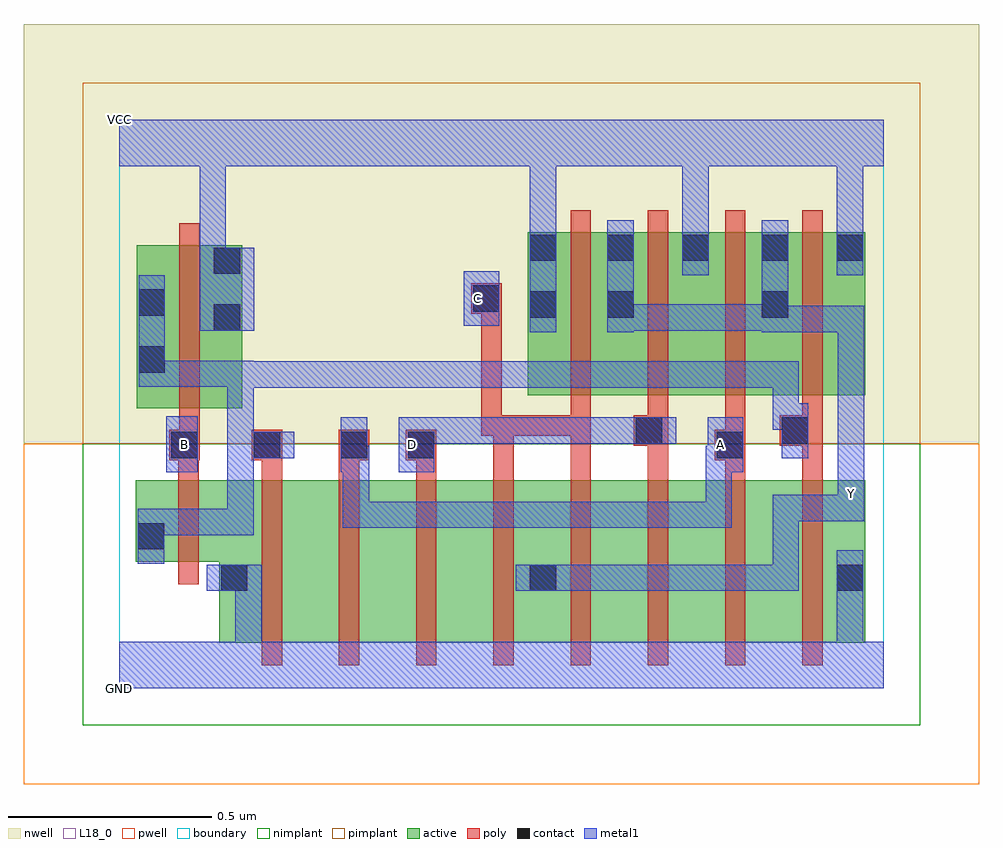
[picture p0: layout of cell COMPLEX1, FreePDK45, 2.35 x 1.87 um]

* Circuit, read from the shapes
.subckt COMPLEX1 A B C D GND VCC Y
M1 GND B n1 VSUBS nfet w=0.2u l=0.05u
M2 n2 n1 GND VSUBS nfet w=0.4u l=0.05u
M3 n3 A n2 VSUBS nfet w=0.4u l=0.05u
M4 n4 D n3 VSUBS nfet w=0.4u l=0.05u
M5 Y C n4 VSUBS nfet w=0.4u l=0.05u
M6 n5 C Y VSUBS nfet w=0.4u l=0.05u
M7 n6 D n5 VSUBS nfet w=0.4u l=0.05u
M8 n7 A n6 VSUBS nfet w=0.4u l=0.05u
M9 GND n1 n7 VSUBS nfet w=0.4u l=0.05u
M10 VCC B n1 n8 pfet w=0.4u l=0.05u
M11 Y C VCC n8 pfet w=0.4u l=0.05u
M12 VCC D Y n8 pfet w=0.4u l=0.05u
M13 Y A VCC n8 pfet w=0.4u l=0.05u
M14 VCC n1 Y n8 pfet w=0.4u l=0.05u
.ends

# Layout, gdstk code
import gdstk
lib = gdstk.Library(unit=1e-6, precision=1e-09)
def R(c, l, rs):  # rectangles x0, y0, x1, y1
    for r in rs: c.add(gdstk.rectangle(r[:2], r[2:], *l))
def A(c, l, x, y, w, h, nx, ny, dx, dy):  # array of equal rectangles
    R(c, l, [(x+i*dx, y+j*dy, x+i*dx+w, y+j*dy+h) for i in range(nx) for j in range(ny)])
active = (1, 0)
pwell = (2, 0)
nwell = (3, 0)
nimplant = (4, 0)
pimplant = (5, 0)
poly = (9, 0)
contact = (10, 0)
metal1 = (11, 0)
L18_0 = (18, 0)
boundary = (235, 0)

complex1 = lib.new_cell('COMPLEX1')
R(complex1, active, [(0.245,0.112,0.47,0.512), (0.47,0.112,0.66,0.512), (0.66,0.112,0.85,0.512), (0.85,0.112,1.08,0.512), (1.005,0.112,1.23,0.512), (1.23,0.112,1.42,0.512), (1.42,0.112,1.61,0.512), (1.61,0.112,1.835,0.512), (1.76,0.112,1.835,0.512), (1.005,0.147,1.08,0.512), (0.245,0.235,0.32,0.512), (0.04,0.312,0.32,0.512), (0.04,0.337,0.115,0.512), (0.042,0.69,0.302,1.09), (0.042,0.69,0.117,1.057), (0.227,0.69,0.302,1.09), (1.005,0.722,1.08,1.122), (1.005,0.722,1.27,1.122), (1.195,0.722,1.455,1.122), (1.38,0.722,1.65,1.122), (1.575,0.722,1.835,1.122), (1.76,0.722,1.835,1.122), (1.195,0.802,1.27,1.122), (1.575,0.802,1.65,1.122), (1.38,0.907,1.455,1.122)])
R(complex1, pwell, [(-0.235,-0.235,2.115,0.602)])
R(complex1, nwell, [(-0.235,0.602,2.115,1.635)])
R(complex1, nimplant, [(-0.09,-0.09,1.97,0.602)])
R(complex1, pimplant, [(-0.09,0.602,1.97,1.49)])
A(complex1, poly, 0.35, 0.057, 0.05, 0.51, 8, 1, 0.19, 0)
A(complex1, poly, 0.35, 0.517, 0.05, 0.095, 3, 1, 0.19, 0)
A(complex1, poly, 1.11, 0.667, 0.05, 0.51, 4, 1, 0.19, 0)
R(complex1, poly, [(0.145,0.257,0.195,0.567), (0.145,0.517,0.195,0.612), (0.92,0.517,0.97,0.672), (1.11,0.517,1.16,0.672), (1.3,0.517,1.35,0.647), (1.49,0.517,1.54,0.612), (1.68,0.517,1.73,0.647), (0.122,0.562,0.197,0.637), (0.325,0.562,0.4,0.637), (0.54,0.562,0.615,0.637), (0.705,0.562,0.78,0.637), (1.465,0.562,1.54,0.637), (0.147,0.587,0.197,0.685), (1.49,0.587,1.54,0.717), (1.265,0.597,1.35,0.672), (1.625,0.597,1.73,0.672), (0.89,0.622,0.94,0.972), (0.89,0.622,0.955,0.672), (0.905,0.622,0.955,0.672), (0.905,0.622,0.97,0.672), (0.92,0.622,1.16,0.672), (1.11,0.622,1.16,0.717), (1.11,0.622,1.16,0.672), (1.11,0.622,1.16,0.672), (1.11,0.622,1.16,0.672), (1.3,0.622,1.35,0.717), (1.68,0.622,1.73,0.717), (0.147,0.635,0.197,1.145), (0.865,0.922,0.94,0.997)])
R(complex1, contact, [(0.25,0.24,0.315,0.305), (1.01,0.24,1.075,0.305), (1.765,0.24,1.83,0.305), (0.045,0.342,0.11,0.407), (0.127,0.567,0.192,0.632), (0.33,0.567,0.395,0.632), (0.545,0.567,0.61,0.632), (0.71,0.567,0.775,0.632), (1.47,0.567,1.535,0.632), (1.27,0.602,1.335,0.667), (1.63,0.602,1.695,0.667), (0.047,0.777,0.112,0.842), (0.232,0.88,0.297,0.945), (1.01,0.912,1.075,0.977), (1.2,0.912,1.265,0.977), (1.58,0.912,1.645,0.977), (0.047,0.917,0.112,0.982), (0.87,0.927,0.935,0.992), (0.232,1.02,0.297,1.085), (1.01,1.052,1.075,1.117), (1.2,1.052,1.265,1.117), (1.385,1.052,1.45,1.117), (1.58,1.052,1.645,1.117), (1.765,1.052,1.83,1.117)])
R(complex1, metal1, [(0,0,1.88,0.115), (0.285,0.05,0.35,0.305), (1.765,0.05,1.83,0.27), (1.765,0.205,1.83,0.34), (0.215,0.24,0.35,0.305), (0.975,0.24,1.11,0.305), (1.045,0.24,1.11,0.305), (1.045,0.24,1.11,0.305), (1.045,0.24,1.275,0.305), (1.21,0.24,1.275,0.305), (1.21,0.24,1.275,0.305), (1.21,0.24,1.275,0.305), (1.21,0.24,1.507,0.305), (1.442,0.24,1.507,0.305), (1.442,0.24,1.507,0.305), (1.442,0.24,1.507,0.305), (1.442,0.24,1.672,0.305), (1.607,0.24,1.672,0.305), (1.607,0.24,1.672,0.477), (0.045,0.307,0.11,0.442), (0.045,0.377,0.11,0.442), (0.045,0.377,0.11,0.442), (0.045,0.377,0.33,0.442), (0.265,0.377,0.33,0.442), (0.265,0.377,0.33,0.632), (0.55,0.395,0.615,0.46), (0.55,0.395,0.615,0.597), (0.55,0.395,0.752,0.46), (0.687,0.395,0.752,0.46), (0.687,0.395,0.752,0.46), (0.687,0.395,0.752,0.46), (0.687,0.395,0.942,0.46), (0.877,0.395,0.942,0.46), (0.877,0.395,1.08,0.46), (1.015,0.395,1.08,0.46), (1.015,0.395,1.08,0.46), (1.015,0.395,1.08,0.46), (1.015,0.395,1.247,0.46), (1.182,0.395,1.247,0.46), (1.182,0.395,1.247,0.46), (1.182,0.395,1.247,0.46), (1.182,0.395,1.507,0.46), (1.442,0.395,1.507,0.46), (1.442,0.395,1.507,0.597), (1.607,0.412,1.672,0.477), (1.607,0.412,1.672,0.477), (1.607,0.412,1.672,0.477), (1.607,0.412,1.832,0.477), (1.767,0.412,1.832,0.477), (1.767,0.412,1.832,0.477), (1.767,0.412,1.832,0.547), (1.767,0.482,1.832,0.547), (1.767,0.482,1.832,0.547), (1.767,0.482,1.832,0.942), (0.115,0.532,0.192,0.67), (0.545,0.532,0.61,0.667), (0.545,0.532,0.615,0.597), (0.55,0.532,0.615,0.597), (0.687,0.532,0.775,0.667), (1.442,0.532,1.507,0.597), (1.442,0.532,1.512,0.597), (1.447,0.532,1.535,0.667), (0.265,0.567,0.33,0.632), (0.265,0.567,0.36,0.632), (0.265,0.567,0.33,0.805), (0.295,0.567,0.43,0.632), (1.63,0.567,1.695,0.702), (0.71,0.602,0.775,0.667), (0.71,0.602,0.775,0.667), (0.71,0.602,0.942,0.667), (0.877,0.602,0.942,0.667), (0.877,0.602,0.942,0.667), (0.877,0.602,0.942,0.667), (0.877,0.602,1.11,0.667), (1.045,0.602,1.11,0.667), (1.045,0.602,1.247,0.667), (1.182,0.602,1.247,0.667), (1.182,0.602,1.3,0.667), (1.235,0.602,1.37,0.667), (1.607,0.637,1.672,0.702), (1.607,0.637,1.695,0.702), (1.607,0.637,1.672,0.805), (0.265,0.74,0.33,0.805), (0.265,0.74,0.33,0.805), (0.265,0.74,0.467,0.805), (0.265,0.74,0.33,0.807), (0.402,0.74,0.467,0.805), (0.402,0.74,0.615,0.805), (0.55,0.74,0.615,0.805), (0.55,0.74,0.615,0.805), (0.55,0.74,0.615,0.805), (0.55,0.74,0.752,0.805), (0.687,0.74,0.752,0.805), (0.687,0.74,0.752,0.805), (0.687,0.74,0.752,0.805), (0.687,0.74,0.942,0.805), (0.877,0.74,0.942,0.805), (0.877,0.74,1.08,0.805), (1.015,0.74,1.08,0.805), (1.015,0.74,1.08,0.805), (1.015,0.74,1.08,0.805), (1.015,0.74,1.247,0.805), (1.182,0.74,1.247,0.805), (1.182,0.74,1.247,0.805), (1.182,0.74,1.247,0.805), (1.182,0.74,1.412,0.805), (1.347,0.74,1.412,0.805), (1.347,0.74,1.507,0.805), (1.442,0.74,1.507,0.805), (1.442,0.74,1.672,0.805), (1.607,0.74,1.672,0.805), (0.047,0.742,0.112,0.807), (0.047,0.742,0.112,0.807), (0.047,0.742,0.112,1.017), (0.047,0.742,0.33,0.807), (1.01,0.877,1.075,1.152), (1.2,0.877,1.265,1.152), (1.58,0.877,1.672,0.942), (1.58,0.877,1.645,1.152), (1.607,0.877,1.672,0.942), (1.607,0.877,1.832,0.942), (1.767,0.877,1.832,0.942), (0.197,0.88,0.332,1.085), (1.2,0.88,1.265,0.945), (1.2,0.88,1.265,0.945), (1.2,0.88,1.507,0.945), (1.442,0.88,1.507,0.945), (1.442,0.88,1.507,0.945), (1.442,0.88,1.507,0.945), (1.442,0.88,1.645,0.945), (0.847,0.892,0.935,1.027), (1.385,1.017,1.45,1.152), (1.765,1.017,1.83,1.152), (0.197,1.02,0.262,1.085), (0.197,1.02,0.262,1.085), (0.197,1.02,0.262,1.35), (1.01,1.087,1.075,1.152), (1.01,1.087,1.075,1.152), (1.01,1.087,1.075,1.35), (1.385,1.087,1.45,1.35), (1.765,1.087,1.83,1.152), (1.765,1.087,1.83,1.152), (1.765,1.087,1.83,1.35), (0,1.285,1.88,1.4), (1.385,1.285,1.45,1.35), (1.385,1.285,1.45,1.35)])
A(complex1, L18_0, 1.767, 0.412, 0.065, 0.065, 1, 3, 0, 0.035)
R(complex1, L18_0, [(0,0,1.88,0.115), (0.285,0.05,0.35,0.305), (1.765,0.05,1.83,0.27), (1.765,0.205,1.83,0.34), (0.215,0.24,0.35,0.305), (0.975,0.24,1.11,0.305), (1.045,0.24,1.11,0.305), (1.045,0.24,1.11,0.305), (1.045,0.24,1.275,0.305), (1.21,0.24,1.275,0.305), (1.21,0.24,1.275,0.305), (1.21,0.24,1.275,0.305), (1.21,0.24,1.507,0.305), (1.442,0.24,1.507,0.305), (1.442,0.24,1.507,0.305), (1.442,0.24,1.507,0.305), (1.442,0.24,1.672,0.305), (1.607,0.24,1.672,0.305), (1.607,0.24,1.672,0.477), (0.55,0.395,0.615,0.46), (0.55,0.395,0.615,0.597), (0.55,0.395,0.752,0.46), (0.687,0.395,0.752,0.46), (0.687,0.395,0.752,0.46), (0.687,0.395,0.752,0.46), (0.687,0.395,0.942,0.46), (0.877,0.395,0.942,0.46), (0.877,0.395,1.08,0.46), (1.015,0.395,1.08,0.46), (1.015,0.395,1.08,0.46), (1.015,0.395,1.08,0.46), (1.015,0.395,1.247,0.46), (1.182,0.395,1.247,0.46), (1.182,0.395,1.247,0.46), (1.182,0.395,1.247,0.46), (1.182,0.395,1.507,0.46), (1.442,0.395,1.507,0.46), (1.442,0.395,1.507,0.597), (1.607,0.412,1.672,0.477), (1.607,0.412,1.672,0.477), (1.607,0.412,1.672,0.477), (1.607,0.412,1.832,0.477), (1.767,0.412,1.832,0.477), (1.767,0.412,1.832,0.547), (1.767,0.482,1.832,0.547), (1.767,0.482,1.832,0.942), (0.115,0.532,0.192,0.67), (0.545,0.532,0.61,0.667), (0.545,0.532,0.615,0.597), (0.55,0.532,0.615,0.597), (0.687,0.532,0.775,0.667), (1.442,0.532,1.507,0.597), (1.442,0.532,1.512,0.597), (1.447,0.532,1.535,0.667), (0.127,0.567,0.192,0.632), (0.687,0.567,0.752,0.632), (1.447,0.567,1.512,0.632), (0.71,0.602,0.775,0.667), (0.71,0.602,0.775,0.667), (0.71,0.602,0.942,0.667), (0.877,0.602,0.942,0.667), (0.877,0.602,0.942,0.667), (0.877,0.602,0.942,0.667), (0.877,0.602,1.11,0.667), (1.045,0.602,1.11,0.667), (1.045,0.602,1.247,0.667), (1.182,0.602,1.247,0.667), (1.182,0.602,1.3,0.667), (1.235,0.602,1.37,0.667), (1.01,0.877,1.075,1.152), (1.2,0.877,1.265,1.152), (1.58,0.877,1.645,1.152), (1.58,0.877,1.672,0.942), (1.607,0.877,1.672,0.942), (1.607,0.877,1.832,0.942), (1.767,0.877,1.832,0.942), (0.197,0.88,0.332,1.085), (1.2,0.88,1.265,0.945), (1.2,0.88,1.265,0.945), (1.2,0.88,1.507,0.945), (1.442,0.88,1.507,0.945), (1.442,0.88,1.507,0.945), (1.442,0.88,1.507,0.945), (1.442,0.88,1.645,0.945), (0.847,0.892,0.935,1.027), (0.847,0.927,0.912,0.992), (1.385,1.017,1.45,1.152), (1.765,1.017,1.83,1.152), (0.197,1.02,0.262,1.085), (0.197,1.02,0.262,1.085), (0.197,1.02,0.262,1.35), (1.01,1.087,1.075,1.152), (1.01,1.087,1.075,1.152), (1.01,1.087,1.075,1.35), (1.385,1.087,1.45,1.35), (1.765,1.087,1.83,1.152), (1.765,1.087,1.83,1.152), (1.765,1.087,1.83,1.35), (0,1.285,1.88,1.4), (1.385,1.285,1.45,1.35), (1.385,1.285,1.45,1.35)])
R(complex1, boundary, [(0,0,1.88,1.4)])
complex1.add(gdstk.Label('A', (1.48,0.6), layer=11, texttype=0))
complex1.add(gdstk.Label('B', (0.16,0.6), layer=11, texttype=0))
complex1.add(gdstk.Label('C', (0.88,0.96), layer=11, texttype=0))
complex1.add(gdstk.Label('D', (0.72,0.6), layer=11, texttype=0))
complex1.add(gdstk.Label('Y', (1.8,0.48), layer=11, texttype=0))
complex1.add(gdstk.Label('VCC', (0,1.4), layer=11, texttype=0))
complex1.add(gdstk.Label('GND', (0,0), layer=11, texttype=0))

lib.write_gds('COMPLEX1.gds')
